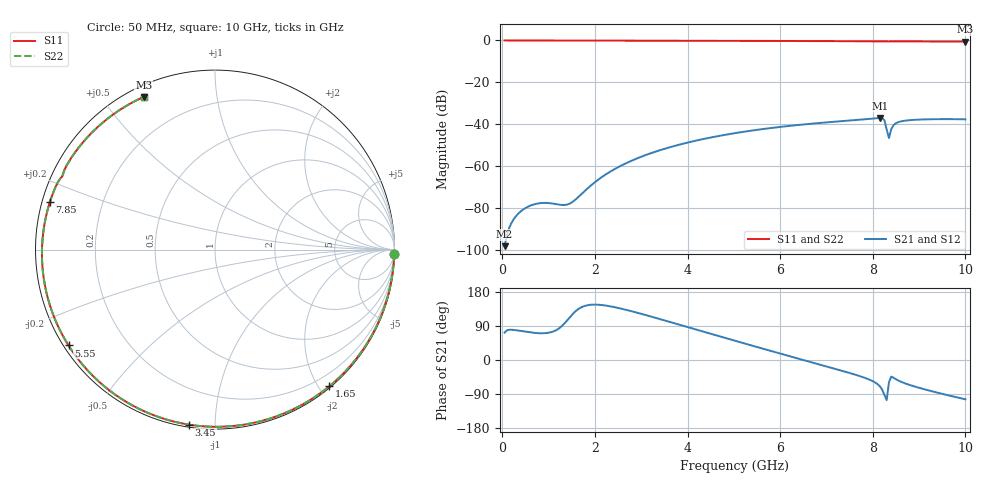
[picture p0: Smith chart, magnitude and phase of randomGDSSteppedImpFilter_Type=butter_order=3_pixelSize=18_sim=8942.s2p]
! freq	dB(S11)	phase(S11)	dB(S12)	phase(S12)
!  dB(S21)	phase(S21)	dB(S22)	phase(S22)
!S-par simulation data
#  GHz  S  DB  R 50
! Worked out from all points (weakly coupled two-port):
!   200 points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, 50 MHz to 10 GHz, reference 50 ohm
!   highest |S21| = -37.09 dB at 8.15 GHz (marker M1); lowest = -98.4 dB at 50 MHz (marker M2)
!   lowest |S11| = -0.5 dB at 10 GHz (marker M3), VSWR 31.71, Z = 2.22 + j31.8 ohm
!   |S11| at or under -10 dB: nowhere
!   |S22| runs from -0.5 to 0.0 dB; largest |S21 - S12| = 0
!   S11 on the Smith chart (normalised r, x): 50 MHz: 2, -76; 1.65 GHz: 0.02, -2.14; 3.45 GHz: 0.01, -0.86; 5.55 GHz: 0.01, -0.30; 7.85 GHz: 0.02, +0.14; 10 GHz: 0.04, +0.64
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0.05  -0.01 -1.5  -98.41 72.4  -98.41 72.4  -0.01 -1.5
0.5  -0.02 -15.5  -80.17 74.7  -80.17 74.7  -0.02 -15.5
0.9  -0.04 -27.8  -77.71 70.7  -77.71 70.7  -0.04 -27.8
1.35  -0.05 -41.3  -78.71 97.5  -78.71 97.5  -0.05 -41.3
1.65  -0.06 -50.1  -74.74 135.1  -74.74 135.1  -0.06 -50.1
1.75  -0.07 -52.9  -72.65 141.4  -72.65 141.4  -0.07 -52.9
2.1  -0.08 -62.9  -66.14 145.6  -66.14 145.6  -0.08 -62.9
2.45  -0.09 -72.5  -61.24 138.7  -61.24 138.7  -0.09 -72.5
3.4  -0.12 -97.2  -52.53 108.1  -52.53 108.1  -0.12 -97.2
3.45  -0.12 -98.5  -52.18 106.4  -52.18 106.4  -0.12 -98.5
4.2  -0.15 -116.5  -47.83 79.9  -47.83 79.9  -0.15 -116.5
5.05  -0.19 -135.9  -44.25 49.9  -44.25 49.9  -0.19 -135.9
5.55  -0.22 -146.8  -42.61 32.5  -42.61 32.5  -0.22 -146.8
6.7  -0.29 -171.4  -39.77 -6.7  -39.77 -6.7  -0.29 -171.4
7.85  -0.38 164.0  -37.71 -48.0  -37.71 -48.0  -0.38 164.0
8.15  -0.42 157.4  -37.09 -69.0  -37.09 -69.0  -0.42 157.4
8.25  -0.47 155.1  -38.09 -91.7  -38.09 -91.7  -0.47 155.1
8.35  -0.48 153.5  -46.69 -58.6  -46.69 -58.6  -0.48 153.5
8.4  -0.46 152.4  -42.38 -43.9  -42.38 -43.9  -0.46 152.4
8.45  -0.45 151.2  -40.49 -46.9  -40.49 -46.9  -0.45 151.2
8.6  -0.44 147.8  -38.76 -56.9  -38.76 -56.9  -0.44 147.8
10  -0.55 115.0  -37.71 -103.6  -37.71 -103.6  -0.55 115.0
